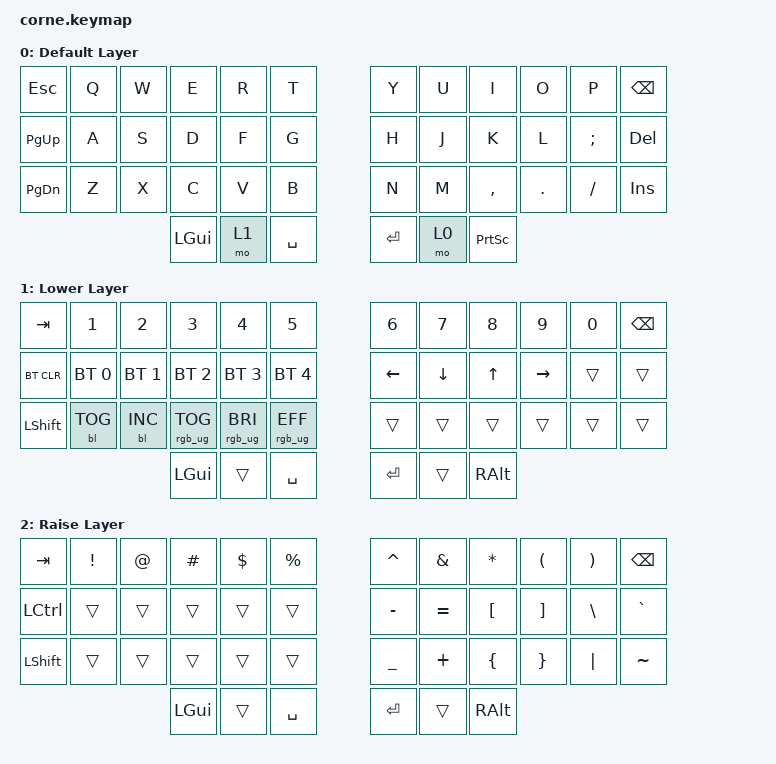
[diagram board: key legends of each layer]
/*
 * Copyright (c) 2020 The ZMK Contributors
 *
 * SPDX-License-Identifier: MIT
 */

#include <behaviors.dtsi>
#include <dt-bindings/zmk/backlight.h>
#include <dt-bindings/zmk/bt.h>
#include <dt-bindings/zmk/keys.h>
#include <dt-bindings/zmk/rgb.h>

/ {
    keymap {
        compatible = "zmk,keymap";

        default_layer {
            display-name = "Default Layer";

            // -----------------------------------------------------------------------------------------
            // |  TAB |  Q  |  W  |  E  |  R  |  T  |   |  Y  |  U   |  I  |  O  |  P  | BSPC |
            // | CTRL |  A  |  S  |  D  |  F  |  G  |   |  H  |  J   |  K  |  L  |  ;  |  '   |
            // | SHFT |  Z  |  X  |  C  |  V  |  B  |   |  N  |  M   |  ,  |  .  |  /  | ESC  |
            //                    | GUI | LWR | SPC |   | ENT | RSE  | ALT |

            bindings = <
&kp ESCAPE     &kp Q  &kp W  &kp E     &kp R  &kp T        &kp Y    &kp U  &kp I            &kp O    &kp P     &kp BSPC
&kp PAGE_UP    &kp A  &kp S  &kp D     &kp F  &kp G        &kp H    &kp J  &kp K            &kp L    &kp SEMI  &kp DELETE
&kp PAGE_DOWN  &kp Z  &kp X  &kp C     &kp V  &kp B        &kp N    &kp M  &kp COMMA        &kp DOT  &kp FSLH  &kp INSERT
                             &kp LGUI  &mo 1  &kp SPACE    &kp RET  &mo 0  &kp PRINTSCREEN
            >;
        };

        lower_layer {
            display-name = "Lower Layer";

            // -----------------------------------------------------------------------------------------
            // |  TAB |  1  |  2  |  3  |  4  |  5  |   |  6  |  7  |  8  |  9  |  0  | BSPC |
            // | BTCLR| BT1 | BT2 | BT3 | BT4 | BT5 |   | LFT | DWN |  UP | RGT |     |      |
            // | SHFT |     |     |     |     |     |   |     |     |     |     |     |      |
            //                    | GUI |     | SPC |   | ENT |     | ALT |

            bindings = <
&kp TAB     &kp N1        &kp N2        &kp N3           &kp N4           &kp N5             &kp N6    &kp N7    &kp N8    &kp N9     &kp N0  &kp BSPC
&bt BT_CLR  &bt BT_SEL 0  &bt BT_SEL 1  &bt BT_SEL 2     &bt BT_SEL 3     &bt BT_SEL 4       &kp LEFT  &kp DOWN  &kp UP    &kp RIGHT  &trans  &trans
&kp LSHFT   &bl BL_TOG    &bl BL_INC    &rgb_ug RGB_TOG  &rgb_ug RGB_BRI  &rgb_ug RGB_EFF    &trans    &trans    &trans    &trans     &trans  &trans
                                        &kp LGUI         &trans           &kp SPACE          &kp RET   &trans    &kp RALT
            >;
        };

        raise_layer {
            display-name = "Raise Layer";

            // -----------------------------------------------------------------------------------------
            // |  TAB |  !  |  @  |  #  |  $  |  %  |   |  ^  |  &  |  *  |  (  |  )  | BSPC |
            // | CTRL |     |     |     |     |     |   |  -  |  =  |  [  |  ]  |  \  |  `   |
            // | SHFT |     |     |     |     |     |   |  _  |  +  |  {  |  }  | "|" |  ~   |
            //                    | GUI |     | SPC |   | ENT |     | ALT |

            bindings = <
&kp TAB    &kp EXCL  &kp AT  &kp HASH  &kp DLLR  &kp PRCNT    &kp CARET  &kp AMPS   &kp ASTRK  &kp LPAR  &kp RPAR  &kp BSPC
&kp LCTRL  &trans    &trans  &trans    &trans    &trans       &kp MINUS  &kp EQUAL  &kp LBKT   &kp RBKT  &kp BSLH  &kp GRAVE
&kp LSHFT  &trans    &trans  &trans    &trans    &trans       &kp UNDER  &kp PLUS   &kp LBRC   &kp RBRC  &kp PIPE  &kp TILDE
                             &kp LGUI  &trans    &kp SPACE    &kp RET    &trans     &kp RALT
            >;
        };
    };
};
